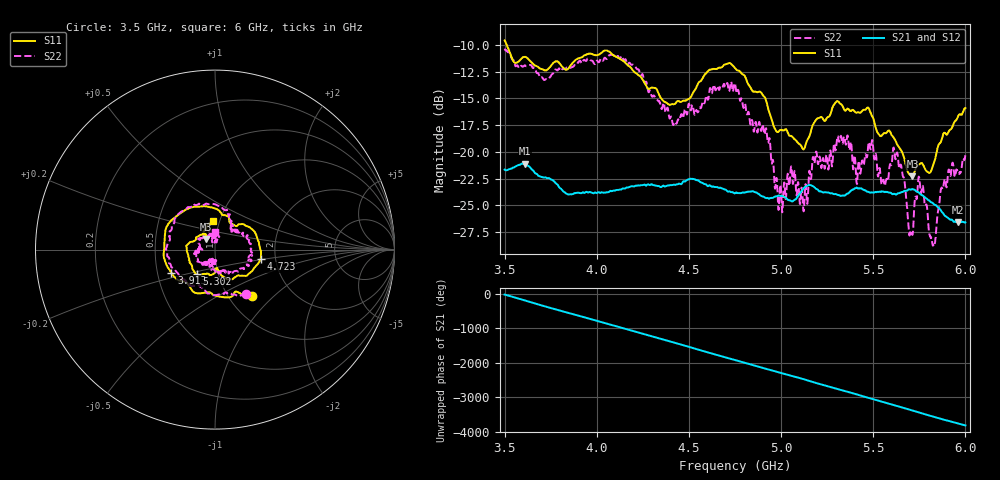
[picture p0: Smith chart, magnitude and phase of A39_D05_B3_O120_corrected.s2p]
! Created with skrf 1.9.0 (http://scikit-rf.org).
# Hz S RI R 50.0
!freq ReS11 ImS11 ReS21 ImS21 ReS12 ImS12 ReS22 ImS22
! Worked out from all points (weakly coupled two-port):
!   1601 points, 3.5 GHz to 6 GHz, reference 50 ohm
!   highest |S21| = -21.09 dB at 3.609 GHz (marker M1); lowest = -26.6 dB at 5.958 GHz (marker M2)
!   lowest |S11| = -22.3 dB at 5.713 GHz (marker M3), VSWR 1.17, Z = 45 + j5.37 ohm
!   |S11| at or under -10 dB: 3.512 GHz to end of sweep
!   |S22| runs from -28.8 to -10.4 dB; largest |S21 - S12| = 0.00091
!   S11 on the Smith chart (normalised r, x): 3.5 GHz: 1.27, -0.74; 3.913 GHz: 0.59, -0.17; 4.723 GHz: 1.67, -0.19; 5.302 GHz: 0.79, -0.22; 6 GHz: 0.93, +0.31
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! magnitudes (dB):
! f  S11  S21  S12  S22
! 3.5 GHz  -9.6  -21.7  -21.6  -10.4
! 3.609 GHz  -11.1  -21.1  -21.1  -11.9
! 3.913 GHz  -11.2  -23.9  -23.8  -11.5
! 3.917 GHz  -11.2  -23.9  -23.8  -11.7
! 4.144 GHz  -11.5  -23.4  -23.4  -11.4
! 4.334 GHz  -14.5  -23.2  -23.1  -15.3
! 4.423 GHz  -15.5  -23.1  -23.1  -17.2
! 4.723 GHz  -11.7  -23.7  -23.6  -13.9
! 4.75 GHz  -12.2  -23.9  -23.8  -13.6
! 4.928 GHz  -15.8  -24.3  -24.3  -19.2
! 4.995 GHz  -18.0  -24.1  -24.1  -23.1
! 5.131 GHz  -19.5  -23.3  -23.2  -23.1
! 5.167 GHz  -17.7  -23.2  -23.1  -21.5
! 5.302 GHz  -15.3  -24.0  -23.9  -19.1
! 5.584 GHz  -18.0  -23.8  -23.8  -22.1
! 5.622 GHz  -19.0  -24.0  -24.0  -20.7
! 5.713 GHz  -22.3  -23.5  -23.4  -27.8
! 5.756 GHz  -21.1  -24.0  -23.9  -23.6
! 5.828 GHz  -21.1  -24.9  -24.8  -28.8
! 5.877 GHz  -18.5  -25.7  -25.6  -23.5
! 5.958 GHz  -16.8  -26.6  -26.5  -21.9
! 6 GHz  -15.9  -26.6  -26.5  -20.2
